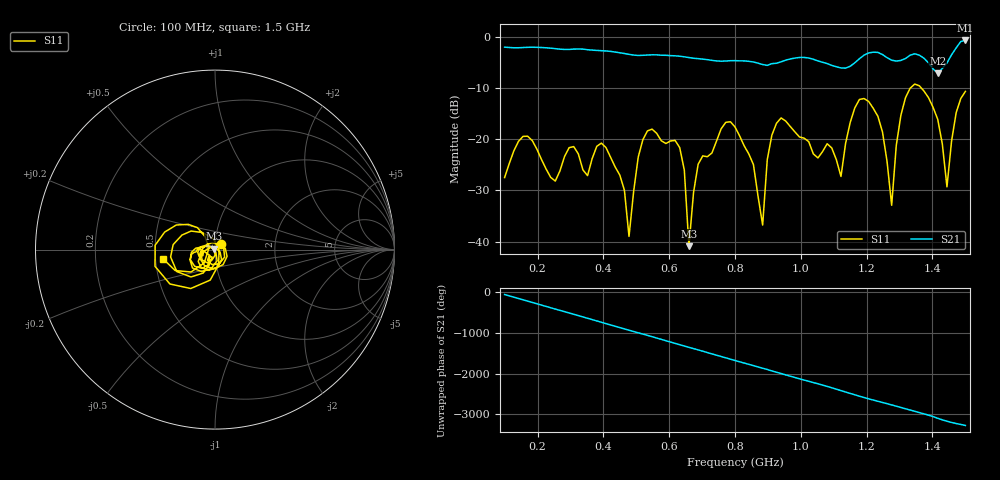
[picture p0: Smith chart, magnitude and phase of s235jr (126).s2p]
! NanoVNA-App
! Date: 2025-09-25 15:05:09
! Start: 100MHz Stop: 1,5GHz Points: 101
! S-Parameter data: F S11 S21 S12 S22
# Hz S RI R 50
!  Frequency  S11_Real  S11_Imag  S21_Real  S21_Imag  S12_Real  S12_Imag  S22_Real  S22_Imag
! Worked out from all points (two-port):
!   101 points, 100 MHz to 1.5 GHz, reference 50 ohm
!   highest |S21| = -0.66 dB at 1.5 GHz (marker M1); lowest = -7.0 dB at 1.416 GHz (marker M2)
!   |S21| within 3 dB of the highest: start of sweep to 615.1 MHz; 1.19 GHz to 1.254 GHz (63.96 MHz wide, 5.24 % of centre) (the widest 2 of 4)
!   lowest |S11| = -40.9 dB at 660 MHz (marker M3), VSWR 1.02, Z = 49.3 + j0.565 ohm
!   |S11| at or under -10 dB: start of sweep to 1.332 GHz; 1.367 GHz to end of sweep
!   S12 and S22 are empty: the file has one direction only
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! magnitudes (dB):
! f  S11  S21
! 100 MHz  -27.5  -2.0
! 156 MHz  -19.4  -2.0
! 338 MHz  -26.0  -2.3
! 408 MHz  -21.6  -2.7
! 478 MHz  -39.0  -3.4
! 520 MHz  -20.1  -3.6
! 576 MHz  -20.3  -3.5
! 632 MHz  -21.6  -3.7
! 660 MHz  -40.9  -4.0
! 688 MHz  -24.9  -4.2
! 800 MHz  -17.6  -4.6
! 884 MHz  -36.8  -5.4
! 926 MHz  -16.9  -5.1
! 1.038 GHz  -22.8  -4.3
! 1.122 GHz  -27.3  -6.0
! 1.206 GHz  -12.6  -3.1
! 1.248 GHz  -18.5  -3.4
! 1.276 GHz  -32.9  -4.5
! 1.332 GHz  -10.0  -3.5
! 1.416 GHz  -16.1  -7.0
! 1.444 GHz  -29.3  -5.1
! 1.5 GHz  -10.6  -0.7
